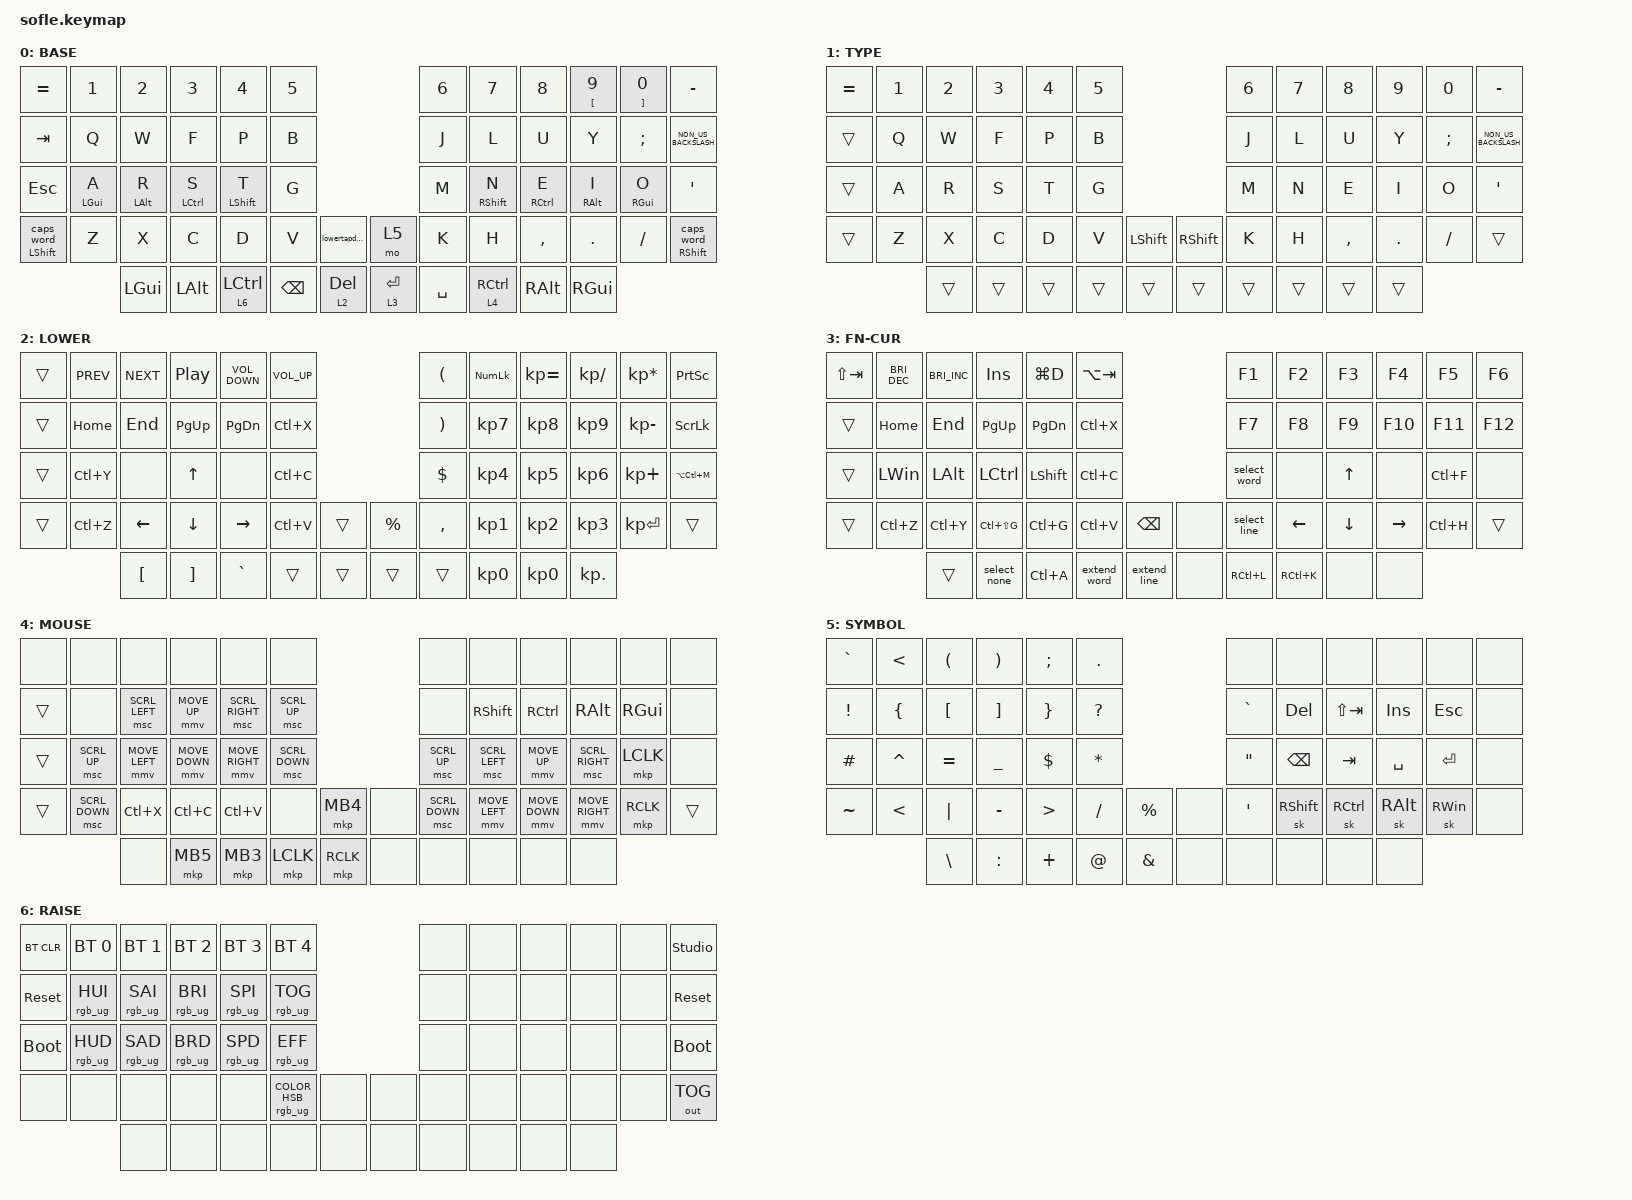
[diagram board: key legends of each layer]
/*
 * Copyright (c) 2020 The ZMK Contributors
 *
 * SPDX-License-Identifier: MIT
 */

#include <input/processors.dtsi>

/*
 * Temporarily here because nice nano v2 spi is not defined on ZMK Yet
 * Source: https://github.com/zmkfirmware/zmk/blob/main/app/boards/shields/reviung41/boards/nice_nano.overlay
 * GitHub Issue: https://github.com/zmkfirmware/zmk/issues/885
 */

#define ZMK_POINTING_DEFAULT_MOVE_VAL 1200  // default: 600
#define ZMK_POINTING_DEFAULT_SCRL_VAL 30   // default: 10

#include <dt-bindings/led/led.h>
#include <behaviors.dtsi>
#include <dt-bindings/zmk/bt.h>
#include <dt-bindings/zmk/keys.h>
#include <dt-bindings/zmk/outputs.h>
#include <dt-bindings/zmk/pointing.h>
#include <dt-bindings/zmk/rgb.h>

&pinctrl {
    spi3_default: spi3_default {
        group1 { psels = <NRF_PSEL(SPIM_MOSI, 0, 8)>; };
    };

    spi3_sleep: spi3_sleep {
        group1 {
            psels = <NRF_PSEL(SPIM_MOSI, 0, 8)>;
            low-power-enable;
        };
    };
};

&spi3 {
    compatible = "nordic,nrf-spim";
    status = "okay";
    pinctrl-0 = <&spi3_default>;
    pinctrl-1 = <&spi3_sleep>;
    pinctrl-names = "default", "sleep";

    led_strip: ws2812@0 {
        compatible = "worldsemi,ws2812-spi";
        label = "WS2812";

        /* SPI */

        reg = <0>; /* ignored, but necessary for SPI bindings */
        spi-max-frequency = <4000000>;

        /* WS2812 */

        chain-length = <30>;
        spi-one-frame = <0x70>;
        spi-zero-frame = <0x40>;
        color-mapping = <LED_COLOR_ID_GREEN LED_COLOR_ID_RED LED_COLOR_ID_BLUE>;
    };
};

&mt {
    tapping-term-ms = <200>;
    flavor = "balanced";
};

&lt {
    tapping-term-ms = <250>;
    flavor = "balanced";
};

/ {
    chosen { zmk,underglow = &led_strip; };
};

/* END temporary RGB support section */

/ {
    combos {
        compatible = "zmk,combos";

        Capsv1 {
            bindings = <&kp CAPSLOCK>;
            key-positions = <36 49>;
            layers = <0 1>;
        };

        TypingLayer {
            bindings = <&tog 1>;
            key-positions = <1 50>;
            layers = <0 1>;
        };
    };

    behaviors {
        lowertapdance: lowertapdance {
            compatible = "zmk,behavior-tap-dance";
            label = "LOWERTAPDANCE";
            #binding-cells = <0>;
            bindings = <&mo 2>, <&to 2>;

            tapping-term-ms = <250>;
        };

        CapsWord: CapsWord {
            compatible = "zmk,behavior-hold-tap";
            label = "CAPSWORD";
            bindings = <&kp>, <&caps_word>;

            #binding-cells = <2>;
            tapping-term-ms = <200>;
            flavor = "balanced";
            quick-tap-ms = <150>;
        };

        Thumb_Layer: Thumb_Layer {
            compatible = "zmk,behavior-hold-tap";
            label = "THUMB_LAYER";
            bindings = <&mo>, <&kp>;

            #binding-cells = <2>;
            tapping-term-ms = <200>;
            quick-tap-ms = <150>;
            flavor = "balanced";
        };

        hml_pointer: home_row_mode_left_pointer {
            compatible = "zmk,behavior-hold-tap";
            label = "HML_POINTER";
            bindings = <&kp>, <&kp>;

            #binding-cells = <2>;
            hold-trigger-key-positions = <6 7 9 8 10 11 18 19 20 21 22 23 30 31 32 33 34 44 45 46 47 48 35>;
            quick-tap-ms = <150>;
            require-prior-idle-ms = <150>;
            tapping-term-ms = <190>;
            flavor = "balanced";
            hold-trigger-on-release;
        };

        hmr_pointer: home_row_mod_right_pointer {
            compatible = "zmk,behavior-hold-tap";
            label = "HMR_POINTER";
            bindings = <&kp>, <&kp>;

            #binding-cells = <2>;
            tapping-term-ms = <190>;
            quick-tap-ms = <150>;
            require-prior-idle-ms = <150>;
            flavor = "balanced";
            hold-trigger-key-positions = <1 2 3 4 5 17 16 15 14 13 25 26 27 28 29 37 38 39 40 41 0>;
            hold-trigger-on-release;
        };

        hml_pinky: home_row_mode_left_pinky {
            compatible = "zmk,behavior-hold-tap";
            label = "HML_PINKY";
            bindings = <&kp>, <&kp>;

            #binding-cells = <2>;
            hold-trigger-key-positions = <6 7 9 8 10 11 18 19 20 21 22 23 30 31 32 33 34 44 45 46 47 48 35>;
            quick-tap-ms = <150>;
            require-prior-idle-ms = <150>;
            tapping-term-ms = <250>;
            flavor = "balanced";
            hold-trigger-on-release;
        };

        hml_ring: home_row_mode_left_ring {
            compatible = "zmk,behavior-hold-tap";
            label = "HML_RING";
            bindings = <&kp>, <&kp>;

            #binding-cells = <2>;
            hold-trigger-key-positions = <6 7 9 8 10 11 18 19 20 21 22 23 30 31 32 33 34 44 45 46 47 48 35>;
            quick-tap-ms = <150>;
            require-prior-idle-ms = <150>;
            tapping-term-ms = <250>;
            flavor = "balanced";
            hold-trigger-on-release;
        };

        hml_middle: home_row_mode_left_middle {
            compatible = "zmk,behavior-hold-tap";
            label = "HML_MIDDLE";
            bindings = <&kp>, <&kp>;

            #binding-cells = <2>;
            hold-trigger-key-positions = <6 7 9 8 10 11 18 19 20 21 22 23 30 31 32 33 34 44 45 46 47 48 35>;
            quick-tap-ms = <150>;
            require-prior-idle-ms = <150>;
            tapping-term-ms = <220>;
            flavor = "balanced";
            hold-trigger-on-release;
        };

        hmr_middle: home_row_mod_right_middle {
            compatible = "zmk,behavior-hold-tap";
            label = "HMR_MIDDLE";
            bindings = <&kp>, <&kp>;

            #binding-cells = <2>;
            tapping-term-ms = <220>;
            quick-tap-ms = <150>;
            require-prior-idle-ms = <150>;
            flavor = "balanced";
            hold-trigger-key-positions = <1 2 3 4 5 17 16 15 14 13 25 26 27 28 29 37 38 39 40 41 0>;
            hold-trigger-on-release;
        };

        hmr_ring: home_row_mod_right_ring {
            compatible = "zmk,behavior-hold-tap";
            label = "HMR_RING";
            bindings = <&kp>, <&kp>;

            #binding-cells = <2>;
            tapping-term-ms = <250>;
            quick-tap-ms = <150>;
            require-prior-idle-ms = <150>;
            flavor = "balanced";
            hold-trigger-key-positions = <1 2 3 4 5 17 16 15 14 13 25 26 27 28 29 37 38 39 40 41 0>;
            hold-trigger-on-release;
        };

        hmr_pinky: home_row_mod_right_pinky {
            compatible = "zmk,behavior-hold-tap";
            label = "HMR_PINKY";
            bindings = <&kp>, <&kp>;

            #binding-cells = <2>;
            tapping-term-ms = <250>;
            quick-tap-ms = <150>;
            require-prior-idle-ms = <150>;
            flavor = "balanced";
            hold-trigger-key-positions = <1 2 3 4 5 17 16 15 14 13 25 26 27 28 29 37 38 39 40 41 0>;
            hold-trigger-on-release;
        };
    };

    macros {
        extend_line: extend_line {
            compatible = "zmk,behavior-macro";
            #binding-cells = <0>;
            bindings = <&kp LS(END)>;
            label = "EXTEND_LINE";
        };

        extend_word: extend_word {
            compatible = "zmk,behavior-macro";
            #binding-cells = <0>;
            bindings = <&kp LS(LC(RIGHT))>;
            label = "EXTEND_WORD";
        };

        select_line: select_line {
            compatible = "zmk,behavior-macro";
            #binding-cells = <0>;
            bindings = <&kp HOME &kp LS(END)>;
            label = "SELECT_LINE";
        };

        select_word: select_word {
            compatible = "zmk,behavior-macro";
            #binding-cells = <0>;
            bindings = <&kp LS(LEFT) &kp LC(LS(RIGHT))>;
            label = "SELECT_WORD";
        };

        select_none: select_none {
            compatible = "zmk,behavior-macro";
            #binding-cells = <0>;
            bindings = <&kp DOWN &kp UP_ARROW &kp RIGHT &kp LEFT>;
            label = "SELECT_NONE";
        };
    };

    keymap {
        compatible = "zmk,keymap";

        Base {
            label = "BASE";

            // ------------------------------------------------------------------------------------------------------------------
            // |  `    |  1  |  2  |  3   |  4   |  5   |                         |  6   |  7    |  8    |  9   |   0   |       |
            // |  ESC  |  Q  |  W  |  E   |  R   |  T   |                         |  Y   |  U    |  I    |  O   |   P   | BKSPC |
            // |  TAB  |  A  |  S  |  D   |  F   |  G   |                         |  H   |  J    |  K    |  L   |   ;   |   '   |
            // | SHIFT |  Z  |  X  |  C   |  V   |  B   |  MUTE  |        | ExtPw |  N   |  M    |  ,    |  .   |   /   | SHIFT |
            //               | GUI | ALT  | CTRL | LOWER|  ENTER |        | SPACE | RAISE| CTRL  | ALT   | GUI  |

            bindings = <
&kp EQUAL               &kp N1                 &kp N2                &kp N3               &kp N4                &kp N5                                                        &kp N6     &kp N7                &kp N8               &mt LEFT_BRACKET N9    &mt RIGHT_BRACKET N0  &kp MINUS
&kp TAB                 &kp Q                  &kp W                 &kp F                &kp P                 &kp B                                                         &kp J      &kp L                 &kp U                &kp Y                  &kp SEMICOLON         &kp NON_US_BACKSLASH
&kp ESCAPE              &hml_pinky LEFT_GUI A  &hml_ring LEFT_ALT R  &hml_middle LCTRL S  &hml_pointer LSHFT T  &kp G                                                         &kp M      &hmr_pointer RSHFT N  &hmr_middle RCTRL E  &hmr_ring RIGHT_ALT I  &hmr_pinky RGUI O     &kp SQT
&CapsWord LEFT_SHIFT 0  &kp Z                  &kp X                 &kp C                &kp D                 &kp V          &lowertapdance           &mo 5                 &kp K      &kp H                 &kp COMMA            &kp DOT                &kp FSLH              &CapsWord RIGHT_SHIFT 0
                                               &kp LGUI              &kp LALT             &lt 6 LCTRL           &kp BACKSPACE  &Thumb_Layer 2 DELETE    &Thumb_Layer 3 ENTER  &kp SPACE  &lt 4 RCTRL           &kp RALT             &kp RGUI
            >;
        };

        Typing {
            label = "TYPE";
            bindings = <
&kp EQUAL  &kp N1  &kp N2  &kp N3  &kp N4  &kp N5                                     &kp N6  &kp N7  &kp N8     &kp N9   &kp N0         &kp MINUS
&trans     &kp Q   &kp W   &kp F   &kp P   &kp B                                      &kp J   &kp L   &kp U      &kp Y    &kp SEMICOLON  &kp NON_US_BACKSLASH
&trans     &kp A   &kp R   &kp S   &kp T   &kp G                                      &kp M   &kp N   &kp E      &kp I    &kp O          &kp SQT
&trans     &kp Z   &kp X   &kp C   &kp D   &kp V   &kp LEFT_SHIFT    &kp RIGHT_SHIFT  &kp K   &kp H   &kp COMMA  &kp DOT  &kp FSLH       &trans
                   &trans  &trans  &trans  &trans  &trans            &trans           &trans  &trans  &trans     &trans
            >;
        };

        Lower {
            label = "LOWER";

            // TODO: Some binds are waiting for shifted keycode support.
            // ------------------------------------------------------------------------------------------------------------
            // |       |  F1 |  F2 |  F3  |  F4  |  F5  |                   |  F6  |  F7   |  F8   |  F9  |  F10  |  F11  |
            // | `     |   1 |   2 |   3  |   4  |   5  |                   |   6  |   7   |   8   |   9  |    0  |  F12  |
            // |       |  !  |  @  |  #   |  $   |  %   |                   |  ^   |  &    |  *    |  (   |   )   |   |   |
            // |       |  =  |  -  |  +   |  {   |  }   |        |  |       |  [   |  ]    |  ;    |  :   |   \   |       |
            //               |     |      |      |      |        |  |       |      |       |       |      |

            bindings = <
&trans  &kp C_PREV  &kp C_NEXT      &kp C_PLAY_PAUSE  &kp C_VOLUME_DOWN  &kp C_VOLUME_UP                         &kp LEFT_PARENTHESIS   &kp KP_NUMLOCK   &kp KP_EQUAL     &kp KP_DIVIDE  &kp KP_MULTIPLY  &kp PRINTSCREEN
&trans  &kp HOME    &kp END         &kp PAGE_UP       &kp PAGE_DOWN      &kp LC(X)                               &kp RIGHT_PARENTHESIS  &kp KP_N7        &kp KP_N8        &kp KP_N9      &kp KP_MINUS     &kp SCROLLLOCK
&trans  &kp LC(Y)   &none           &kp UP_ARROW      &none              &kp LC(C)                               &kp DOLLAR             &kp KP_N4        &kp KP_N5        &kp KP_N6      &kp KP_PLUS      &kp LA(LC(M))
&trans  &kp LC(Z)   &kp LEFT_ARROW  &kp DOWN          &kp RIGHT          &kp LC(V)        &trans    &kp PERCENT  &kp COMMA              &kp KP_N1        &kp KP_N2        &kp KP_N3      &kp KP_ENTER     &trans
                    &kp LBKT        &kp RBKT          &kp GRAVE          &trans           &trans    &trans       &trans                 &kp KP_NUMBER_0  &kp KP_NUMBER_0  &kp KP_DOT
            >;
        };

        FNCursor {
            label = "FN-CUR";
            bindings = <
&kp LS(TAB)  &kp C_BRIGHTNESS_DEC  &kp C_BRIGHTNESS_INC  &kp INS           &kp LG(D)       &kp LA(TAB)                           &kp F1        &kp F2     &kp F3        &kp F4     &kp F5     &kp F6
&trans       &kp HOME              &kp END               &kp PG_UP         &kp PAGE_DOWN   &kp LC(X)                             &kp F7        &kp F8     &kp F9        &kp F10    &kp F11    &kp F12
&trans       &kp LEFT_WIN          &kp LEFT_ALT          &kp LEFT_CONTROL  &kp LEFT_SHIFT  &kp LC(C)                             &select_word  &none      &kp UP_ARROW  &none      &kp LC(F)  &none
&trans       &kp LC(Z)             &kp LC(Y)             &kp LC(LS(G))     &kp LC(G)       &kp LC(V)     &kp BACKSPACE    &none  &select_line  &kp LEFT   &kp DOWN      &kp RIGHT  &kp LC(H)  &trans
                                   &trans                &select_none      &kp LC(A)       &extend_word  &extend_line     &none  &kp RC(L)     &kp RC(K)  &none         &none
            >;
        };

        Mouse {
            label = "MOUSE";
            bindings = <
&none   &none           &none           &none           &none            &none                               &none           &none           &none           &none            &none      &none
&trans  &none           &msc SCRL_LEFT  &mmv MOVE_UP    &msc SCRL_RIGHT  &msc SCRL_UP                        &none           &kp RSHFT       &kp RCTRL       &kp RALT         &kp RGUI   &none
&trans  &msc SCRL_UP    &mmv MOVE_LEFT  &mmv MOVE_DOWN  &mmv MOVE_RIGHT  &msc SCRL_DOWN                      &msc SCRL_UP    &msc SCRL_LEFT  &mmv MOVE_UP    &msc SCRL_RIGHT  &mkp LCLK  &none
&trans  &msc SCRL_DOWN  &kp LC(X)       &kp LC(C)       &kp LC(V)        &none           &mkp MB4     &none  &msc SCRL_DOWN  &mmv MOVE_LEFT  &mmv MOVE_DOWN  &mmv MOVE_RIGHT  &mkp RCLK  &trans
                        &none           &mkp MB5        &mkp MB3         &mkp LCLK       &mkp RCLK    &none  &none           &none           &none           &none
            >;
        };

        Symbol {
            label = "SYMBOL";
            bindings = <
&kp GRAVE        &kp LESS_THAN   &kp LEFT_PARENTHESIS  &kp RIGHT_PARENTHESIS  &kp SEMICOLON     &kp PERIOD                            &none              &none            &none              &none      &none      &none
&kp EXCLAMATION  &kp LEFT_BRACE  &kp LEFT_BRACKET      &kp RIGHT_BRACKET      &kp RIGHT_BRACE   &kp QUESTION                          &kp GRAVE          &kp DELETE       &kp LS(TAB)        &kp INS    &kp ESC    &none
&kp HASH         &kp CARET       &kp EQUAL             &kp UNDER              &kp DOLLAR        &kp ASTERISK                          &kp DOUBLE_QUOTES  &kp BACKSPACE    &kp TAB            &kp SPACE  &kp ENTER  &none
&kp TILDE        &kp LESS_THAN   &kp PIPE              &kp MINUS              &kp GREATER_THAN  &kp SLASH     &kp PERCENT      &none  &kp SQT            &sk RIGHT_SHIFT  &sk RIGHT_CONTROL  &sk RALT   &sk RWIN   &none
                                 &kp BACKSLASH         &kp COLON              &kp PLUS          &kp AT        &kp AMPERSAND    &none  &none              &none            &none              &none
            >;
        };

        Raise {
            label = "RAISE";

            // ------------------------------------------------------------------------------------------------------------
            // |BTCLR| BT1  | BT2  |  BT3  |  BT4  |  BT5 |                 |      |      |       |      |       |       |
            // |     | INS  | PSCR | GUI   |       |      |                 | PGUP |      |   ^   |      |       |       |
            // |     | ALT  | CTRL | SHIFT |       | CAPS |                 | PGDN |   <- |   v   |  ->  |  DEL  | BKSPC |
            // |     | UNDO | CUT  | COPY  | PASTE |      |      |   | RGB  |      |      |       |      |       |       |
            //              |      |       |       |      |      |   |      |      |      |       |      |

            bindings = <
&bt BT_CLR   &bt BT_SEL 0     &bt BT_SEL 1     &bt BT_SEL 2     &bt BT_SEL 3     &bt BT_SEL 4                                       &none  &none  &none  &none  &none  &studio_unlock
&sys_reset   &rgb_ug RGB_HUI  &rgb_ug RGB_SAI  &rgb_ug RGB_BRI  &rgb_ug RGB_SPI  &rgb_ug RGB_TOG                                    &none  &none  &none  &none  &none  &sys_reset
&bootloader  &rgb_ug RGB_HUD  &rgb_ug RGB_SAD  &rgb_ug RGB_BRD  &rgb_ug RGB_SPD  &rgb_ug RGB_EFF                                    &none  &none  &none  &none  &none  &bootloader
&none        &none            &none            &none            &none            &rgb_ug RGB_COLOR_HSB(172,100,50)  &none    &none  &none  &none  &none  &none  &none  &out OUT_TOG
                              &none            &none            &none            &none                              &none    &none  &none  &none  &none  &none
            >;
        };
    };
};
